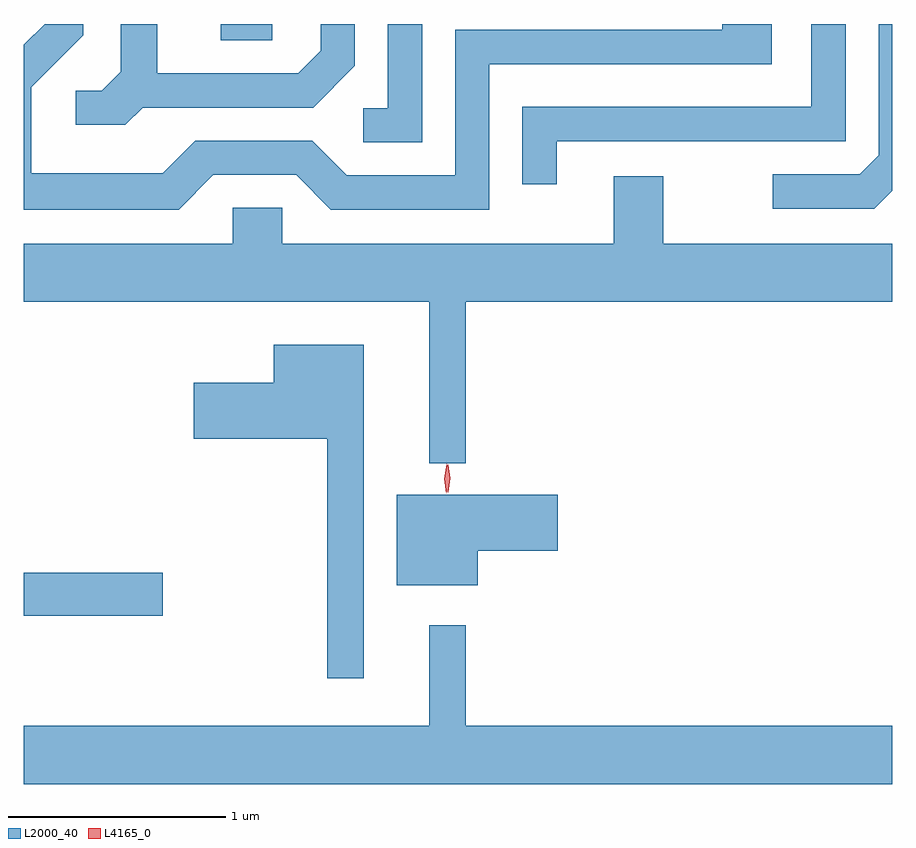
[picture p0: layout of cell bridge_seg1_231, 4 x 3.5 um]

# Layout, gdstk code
import gdstk
lib = gdstk.Library(unit=1e-6, precision=1e-09)
def R(c, l, rs):  # rectangles x0, y0, x1, y1
    for r in rs: c.add(gdstk.rectangle(r[:2], r[2:], *l))
def P(c, l, *ps):  # polygons
    for p in ps: c.add(gdstk.Polygon(p, *l))
L2000_40 = (2000, 40)
L4165_0 = (4165, 0)

bridge_seg1_231 = lib.new_cell('bridge_seg1_231')
R(bridge_seg1_231, L2000_40, [(778.024,869.271,778.664,869.469), (778.931,871.921,779.169,871.996)])
P(bridge_seg1_231, L2000_40, [(779.859,871.996),(779.701,871.996),(779.701,871.609),(779.588,871.609),(779.588,871.451),(779.859,871.451)],
  [(780.479,871.456),(781.809,871.456),(781.809,871.996),(781.651,871.996),(781.651,871.614),(780.321,871.614),(780.321,871.258),(780.479,871.258)],
  [(778.897,871.301),(779.279,871.301),(779.439,871.141),(780.169,871.141),(780.169,871.811),(781.469,871.811),(781.469,871.996),(781.241,871.996),(781.241,871.969),(780.011,871.969),(780.011,871.299),(779.512,871.299),(779.352,871.459),(778.814,871.459),(778.664,871.309),(778.059,871.309),(778.059,871.704),(778.299,871.944),(778.299,871.996),(778.12,871.996),(778.024,871.9),(778.024,871.141),(778.737,871.141)],
  [(782.024,871.228),(782.024,871.996),(781.961,871.996),(781.961,871.392),(781.874,871.304),(781.473,871.304),(781.473,871.146),(781.942,871.146)],
  [(778.572,871.611),(779.357,871.611),(779.549,871.804),(779.549,871.996),(779.391,871.996),(779.391,871.872),(779.289,871.769),(778.639,871.769),(778.639,871.996),(778.471,871.996),(778.471,871.777),(778.384,871.689),(778.263,871.689),(778.263,871.531),(778.492,871.531)],
  [(780.059,870.716),(782.024,870.716),(782.024,870.984),(780.969,870.984),(780.969,871.294),(780.741,871.294),(780.741,870.984),(779.214,870.984),(779.214,871.149),(778.986,871.149),(778.986,870.984),(778.024,870.984),(778.024,870.716),(779.891,870.716),(779.891,869.973),(780.059,869.973)],
  [(779.589,870.519),(779.176,870.519),(779.176,870.344),(778.806,870.344),(778.806,870.086),(779.421,870.086),(779.421,868.983),(779.589,868.983)],
  [(780.114,869.571),(780.484,869.571),(780.484,869.829),(779.741,869.829),(779.741,869.411),(780.114,869.411)],
  [(782.024,868.764),(780.059,868.764),(780.059,869.228),(779.891,869.228),(779.891,868.764),(778.024,868.764),(778.024,868.496),(782.024,868.496)])
P(bridge_seg1_231, L4165_0, [(779.977,869.84),(779.977,869.84),(779.967,869.903),(779.977,869.966),(779.977,869.967),(779.978,869.966),(779.988,869.903),(779.978,869.84)],
  [(779.97,869.834),(779.97,869.834),(779.961,869.902),(779.972,869.97),(779.972,869.97),(779.973,869.97),(779.981,869.902),(779.971,869.834)])

lib.write_gds('bridge_seg1_231.gds')
